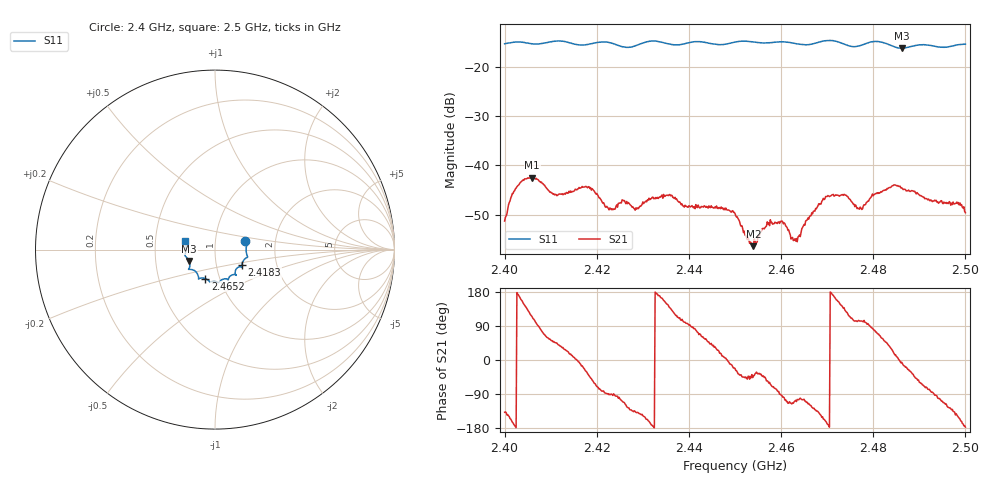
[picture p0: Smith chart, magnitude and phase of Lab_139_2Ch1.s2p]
# Hz S RI R 50
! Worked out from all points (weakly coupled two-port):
!   601 points, 2.4 GHz to 2.5 GHz, reference 50 ohm
!   highest |S21| = -42.46 dB at 2.406 GHz (marker M1); lowest = -56.5 dB at 2.454 GHz (marker M2)
!   lowest |S11| = -16.1 dB at 2.4862 GHz (marker M3), VSWR 1.37, Z = 37.2 - j4.86 ohm
!   |S11| at or under -10 dB: start of sweep to end of sweep
!   S12 and S22 are empty: the file has one direction only
!   S11 on the Smith chart (normalised r, x): 2.4 GHz: 1.40, +0.13; 2.4183 GHz: 1.33, -0.24; 2.4652 GHz: 0.85, -0.28; 2.5 GHz: 0.71, +0.07
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2.4e9  0.1679 0.0467  -0.00201 -0.00182  0 0  0 0
2.4025e9  0.1786 0.0346  -0.00589 -0.000151  0 0  0 0
2.406e9  0.1738 0.00906  -0.00298 0.00692  0 0  0 0
2.411e9  0.1812 -0.0386  0.00353 0.00365  0 0  0 0
2.416667e9  0.1549 -0.068  0.00574 -0.00159  0 0  0 0
2.418333e9  0.1498 -0.0862  0.0045 -0.00406  0 0  0 0
2.423e9  0.1494 -0.0975  -9.59e-05 -0.00363  0 0  0 0
2.428667e9  0.1126 -0.1248  -0.00272 -0.00235  0 0  0 0
2.433333e9  0.1172 -0.1415  -0.00453 0.000809  0 0  0 0
2.45e9  0.0257 -0.1796  0.003 -0.00123  0 0  0 0
2.454e9  0.0141 -0.1812  0.00112 -0.000999  0 0  0 0
2.4575e9  -0.013 -0.1779  0.00126 -0.00208  0 0  0 0
2.460333e9  -0.028 -0.1803  -0.00037 -0.00264  0 0  0 0
2.463e9  -0.0358 -0.172  -0.000555 -0.0017  0 0  0 0
2.465167e9  -0.0543 -0.1613  -0.000777 -0.00234  0 0  0 0
2.466667e9  -0.0708 -0.1578  -0.00186 -0.00272  0 0  0 0
2.470167e9  -0.0914 -0.1645  -0.00486 -0.000844  0 0  0 0
2.473833e9  -0.0942 -0.1439  -0.00336 0.00376  0 0  0 0
2.477167e9  -0.1229 -0.113  -0.00082 0.00367  0 0  0 0
2.483333e9  -0.1415 -0.0969  0.00461 0.00368  0 0  0 0
2.486167e9  -0.1433 -0.0638  0.0059 -0.000603  0 0  0 0
2.5e9  -0.1662 0.0474  -0.0033 -0.000168  0 0  0 0
